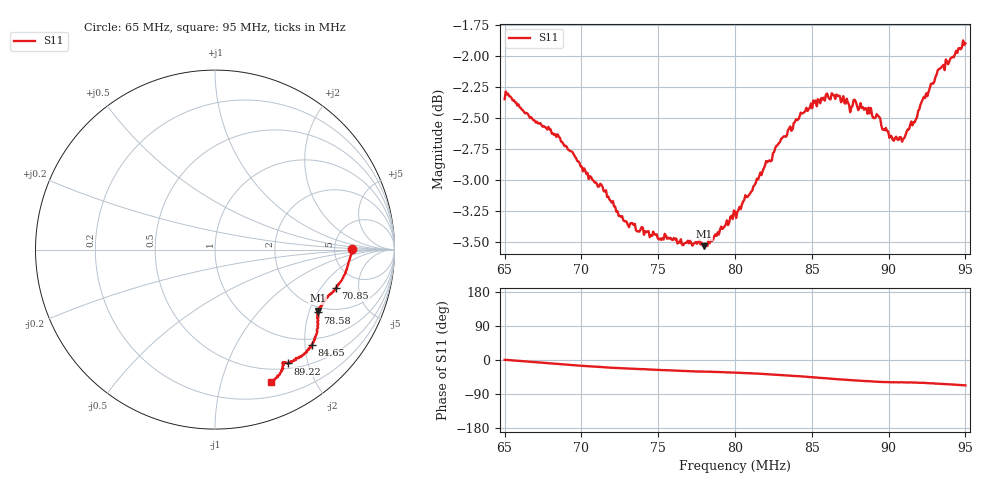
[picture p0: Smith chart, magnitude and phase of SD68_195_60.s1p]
! NanoVNA-App
! Date: 2025-08-09 13:51:33
! Start: 65MHz Stop: 95MHz Points: 401
! S-Parameter data: F S11
# Hz S RI R 50
!  Frequency  S11_Real  S11_Imag
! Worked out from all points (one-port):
!   401 points, 65 MHz to 95 MHz, reference 50 ohm
!   lowest |S11| = -3.5 dB at 77.97 MHz (marker M1), VSWR 4.99, Z = 93.2 - j114 ohm
!   |S11| at or under -10 dB: nowhere
!   S11 on the Smith chart (normalised r, x): 65 MHz: 7.43, +0.21; 70.85 MHz: 3.30, -2.81; 78.58 MHz: 1.80, -2.29; 84.65 MHz: 0.87, -2.16; 89.22 MHz: 0.57, -1.68; 95 MHz: 0.35, -1.45
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6.5e7  0.7629 0.00581
6.5225e7  0.7669 -0.000514
6.785e7  0.7358 -0.1086
6.875e7  0.7191 -0.1437
6.95e7  0.7039 -0.1739
7.085e7  0.6736 -0.2132
7.175e7  0.6559 -0.237
7.25e7  0.6373 -0.251
7.52e7  0.599 -0.3
7.625e7  0.5889 -0.3147
7.7975e7  0.5726 -0.3402
7.8575e7  0.5716 -0.35
8e7  0.5744 -0.3783
8.21e7  0.5736 -0.4348
8.3075e7  0.5671 -0.4693
8.375e7  0.555 -0.4927
8.465e7  0.5408 -0.5297
8.645e7  0.4923 -0.5866
8.75e7  0.4505 -0.6044
8.78e7  0.4505 -0.6152
8.9225e7  0.4052 -0.6341
9.0275e7  0.383 -0.6269
9.0875e7  0.3793 -0.6279
9.125e7  0.3803 -0.6372
9.17e7  0.3795 -0.6433
9.23e7  0.3775 -0.665
9.335e7  0.3579 -0.6984
9.5e7  0.3141 -0.7394
